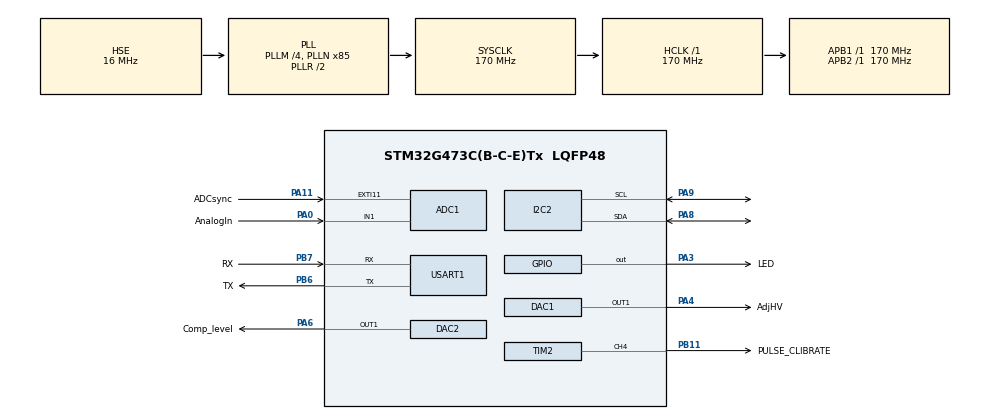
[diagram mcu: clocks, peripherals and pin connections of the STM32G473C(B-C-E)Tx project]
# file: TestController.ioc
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ADC1.Channel-0\#ChannelRegularConversion=ADC_CHANNEL_1
ADC1.ClockPrescaler=ADC_CLOCK_ASYNC_DIV16
ADC1.ContinuousConvMode=DISABLE
ADC1.DMAContinuousRequests=ENABLE
ADC1.NbrOfConversionFlag=1
ADC1.OffsetNumber-0\#ChannelRegularConversion=ADC_OFFSET_NONE
ADC1.Rank-0\#ChannelRegularConversion=1
ADC1.SamplingTime-0\#ChannelRegularConversion=ADC_SAMPLETIME_92CYCLES_5
ADC1.master=1
Dma.ADC1.0.Direction=DMA_PERIPH_TO_MEMORY
Dma.ADC1.0.EventEnable=DISABLE
Dma.ADC1.0.Instance=DMA1_Channel1
Dma.ADC1.0.MemDataAlignment=DMA_MDATAALIGN_HALFWORD
Dma.ADC1.0.MemInc=DMA_MINC_DISABLE
Dma.ADC1.0.Mode=DMA_CIRCULAR
Dma.ADC1.0.PeriphDataAlignment=DMA_PDATAALIGN_HALFWORD
Dma.ADC1.0.PeriphInc=DMA_PINC_DISABLE
Dma.ADC1.0.Polarity=HAL_DMAMUX_REQ_GEN_RISING
Dma.ADC1.0.Priority=DMA_PRIORITY_LOW
Dma.ADC1.0.RequestNumber=1
Dma.ADC1.0.SignalID=NONE
Dma.ADC1.0.SyncEnable=DISABLE
Dma.ADC1.0.SyncPolarity=HAL_DMAMUX_SYNC_NO_EVENT
Dma.ADC1.0.SyncRequestNumber=1
Dma.ADC1.0.SyncSignalID=NONE
Dma.Request0=ADC1
Dma.Request1=USART1_RX
Dma.USART1_RX.1.Direction=DMA_PERIPH_TO_MEMORY
Dma.USART1_RX.1.EventEnable=DISABLE
Dma.USART1_RX.1.Instance=DMA1_Channel2
Dma.USART1_RX.1.MemDataAlignment=DMA_MDATAALIGN_BYTE
Dma.USART1_RX.1.MemInc=DMA_MINC_ENABLE
Dma.USART1_RX.1.Mode=DMA_CIRCULAR
Dma.USART1_RX.1.PeriphDataAlignment=DMA_PDATAALIGN_BYTE
Dma.USART1_RX.1.PeriphInc=DMA_PINC_DISABLE
Dma.USART1_RX.1.Polarity=HAL_DMAMUX_REQ_GEN_RISING
Dma.USART1_RX.1.Priority=DMA_PRIORITY_LOW
Dma.USART1_RX.1.RequestNumber=1
Dma.USART1_RX.1.SignalID=NONE
Dma.USART1_RX.1.SyncEnable=DISABLE
Dma.USART1_RX.1.SyncPolarity=HAL_DMAMUX_SYNC_NO_EVENT
Dma.USART1_RX.1.SyncRequestNumber=1
Dma.USART1_RX.1.SyncSignalID=NONE
I2C2.Timing=0x30A0A7FB
Mcu.Family=STM32G4
Mcu.Name=STM32G473C(B-C-E)Tx
Mcu.Package=LQFP48
NVIC.DMA1_Channel1_IRQn=true\:0\:0\:false\:false\:true\:false\:true\:true
NVIC.DMA1_Channel2_IRQn=true\:0\:0\:false\:false\:true\:false\:true\:true
NVIC.PriorityGroup=NVIC_PRIORITYGROUP_4
PA0.GPIO_Label=AnalogIn
PA0.Mode=IN1-Single-Ended
PA0.Signal=ADC1_IN1
PA11.GPIO_Label=ADCsync
PA11.Signal=GPXTI11
PA13.GPIO_Label=SWD
PA13.Mode=Serial_Wire
PA13.Signal=SYS_JTMS-SWDIO
PA14.GPIO_Label=SWC
PA14.Mode=Serial_Wire
PA14.Signal=SYS_JTCK-SWCLK
PA3.GPIO_Label=LED
PA3.Signal=GPIO_Output
PA4.GPIO_Label=AdjHV
PA4.Signal=COMP_DAC11_group
PA6.GPIO_Label=Comp_level
PA6.Signal=COMP_DAC21_group
PA8.GPIO_Pu=GPIO_PULLUP
PA8.Mode=I2C
PA8.Signal=I2C2_SDA
PA9.GPIO_Pu=GPIO_PULLUP
PA9.Mode=I2C
PA9.Signal=I2C2_SCL
PB11.GPIO_Label=PULSE_CLIBRATE
PB11.Signal=S_TIM2_CH4
PB6.GPIO_Label=TX
PB6.Mode=Asynchronous
PB6.Signal=USART1_TX
PB7.GPIO_Label=RX
PB7.Mode=Asynchronous
PB7.Signal=USART1_RX
PF0-OSC_IN.Mode=HSE-External-Oscillator
PF0-OSC_IN.Signal=RCC_OSC_IN
PF1-OSC_OUT.Mode=HSE-External-Oscillator
PF1-OSC_OUT.Signal=RCC_OSC_OUT
ProjectManager.HeapSize=0x200
ProjectManager.StackSize=0x400
ProjectManager.TargetToolchain=STM32CubeIDE
RCC.ADC12Freq_Value=170000000
RCC.ADC345Freq_Value=170000000
RCC.AHBFreq_Value=170000000
RCC.APB1Freq_Value=170000000
RCC.APB1TimFreq_Value=170000000
RCC.APB2Freq_Value=170000000
RCC.APB2TimFreq_Value=170000000
RCC.CortexFreq_Value=170000000
RCC.EXTERNAL_CLOCK_VALUE=12288000
RCC.HCLKFreq_Value=170000000
RCC.HSE_VALUE=16000000
RCC.HSI48_VALUE=48000000
RCC.HSI_VALUE=16000000
RCC.LSE_VALUE=32768
RCC.PLLM=RCC_PLLM_DIV4
RCC.PLLN=85
RCC.PLLSourceVirtual=RCC_PLLSOURCE_HSE
RCC.SYSCLKFreq_VALUE=170000000
RCC.SYSCLKSource=RCC_SYSCLKSOURCE_PLLCLK
RCC.USBFreq_Value=170000000
RCC.VCOOutputFreq_Value=340000000
SH.COMP_DAC11_group.0=DAC1_OUT1,DAC_OUT1
SH.COMP_DAC21_group.0=DAC2_OUT1,DAC_OUT1
SH.S_TIM2_CH4.0=TIM2_CH4,Output Compare4 CH4
TIM2.Channel-Output\ Compare4\ CH4=TIM_CHANNEL_4
TIM2.OCMode_4=TIM_OCMODE_ACTIVE
USART1.VirtualMode-Asynchronous=VM_ASYNC
VP_SYS_VS_DBSignals.Mode=DisableDeadBatterySignals
VP_SYS_V_VREFBUF.Mode=ExternalMode
VP_TIM2_VS_ClockSourceINT.Mode=Internal
VP_TIM2_VS_OPM.Mode=OPM_bit
board=custom

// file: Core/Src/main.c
/* USER CODE BEGIN Header */
/**
  ******************************************************************************
  * @file           : main.c
  * @brief          : Main program body
  ******************************************************************************
  * @attention
  *
  * Copyright (c) 2024 STMicroelectronics.
  * All rights reserved.
  *
  * This software is licensed under terms that can be found in the LICENSE file
  * in the root directory of this software component.
  * If no LICENSE file comes with this software, it is provided AS-IS.
  *
  ******************************************************************************
  */
/* USER CODE END Header */
#include "main.h"

ADC_HandleTypeDef hadc1;
DMA_HandleTypeDef hdma_adc1;

DAC_HandleTypeDef hdac1;
DAC_HandleTypeDef hdac2;

I2C_HandleTypeDef hi2c2;

TIM_HandleTypeDef htim2;

UART_HandleTypeDef huart1;
DMA_HandleTypeDef hdma_usart1_rx;

/* USER CODE BEGIN PV */
char uartBuffer[400] = {0,};
uint8_t ctrlChar[1] = {0,}, currentLevel = 255;
uint32_t specterBuffer[SPECTER_SIZE] = {0,};
uint32_t pulseCounter = 0, measurementTime = 0;
uint32_t pulseLevel[1];
uint16_t dac_level = 3500;
bool reqToSpecter = false;
/* USER CODE END PV */

void SystemClock_Config(void);
static void MX_GPIO_Init(void);
static void MX_DMA_Init(void);
static void MX_ADC1_Init(void);
static void MX_USART1_UART_Init(void);
static void MX_I2C2_Init(void);
static void MX_TIM2_Init(void);
static void MX_DAC2_Init(void);
static void MX_DAC1_Init(void);

/* USER CODE BEGIN 0 */

uint32_t sendWorld(uint32_t dt) {
	uint8_t l1_word, l2_word, l3_word, l4_word;
	l1_word = dt & 0xFF;
	l2_word = (dt >> 8) & 0xFF;
	l3_word = (dt >> 16) & 0xFF;
	l4_word = (dt >> 24) & 0xFF;

	while ( HAL_OK != HAL_UART_Transmit(&huart1, (uint8_t *) &l1_word , 1, 100));
	while ( HAL_OK != HAL_UART_Transmit(&huart1, (uint8_t *) &l2_word , 1, 100));
	while ( HAL_OK != HAL_UART_Transmit(&huart1, (uint8_t *) &l3_word , 1, 100));
	while ( HAL_OK != HAL_UART_Transmit(&huart1, (uint8_t *) &l4_word , 1, 100));
	return dt;
}
/* USER CODE END 0 */

int main(void)
{

  /* MCU Configuration--------------------------------------------------------*/

  /* Reset of all peripherals, Initializes the Flash interface and the Systick. */
  HAL_Init();

  /* Configure the system clock */
  SystemClock_Config();

  /* Initialize all configured peripherals */
  MX_GPIO_Init();
  MX_DMA_Init();
  MX_ADC1_Init();
  MX_USART1_UART_Init();
  MX_I2C2_Init();
  MX_TIM2_Init();
  MX_DAC2_Init();
  MX_DAC1_Init();
  /* USER CODE BEGIN 2 */

  HAL_GPIO_WritePin(LED_GPIO_Port, LED_Pin, GPIO_PIN_SET);

  bzero((char *) uartBuffer, sizeof(uartBuffer));
  sprintf(uartBuffer, "Start AlphaSpectrometer.\n\r");
  HAL_UART_Transmit(&huart1, (uint8_t *) uartBuffer, strlen(uartBuffer), 100);

  bzero((char *) uartBuffer, sizeof(uartBuffer));
  sprintf(uartBuffer, "Resolution: %d channels.\n\r", SPECTER_SIZE);
  HAL_UART_Transmit(&huart1, (uint8_t *) uartBuffer, strlen(uartBuffer), 100);

  /* Подготовка буфера для спектра */
  for (int i = 0; i < SPECTER_SIZE; i++) {
	  specterBuffer[i] = 0;
  }
  pulseCounter = 0;

  /* UART для приема */
  HAL_UART_Receive_DMA(&huart1, ctrlChar, 1);

  /* Настройка усиления */
  AD5245level(currentLevel);

  /* Установка начального порога компаратора */
  HAL_DAC_Start(&hdac2, DAC_CHANNEL_1);
  HAL_DAC_SetValue(&hdac2, DAC_CHANNEL_1, DAC_ALIGN_12B_R, dac_level);

  /* Запускаем ADC */
  uint8_t hal_code;
  if (  HAL_OK != (hal_code = HAL_ADCEx_Calibration_Start(&hadc1, ADC_SINGLE_ENDED))) {
	  bzero((char *) uartBuffer, sizeof(uartBuffer));
	  sprintf(uartBuffer, "Error ADC calibrate: %u.\n\r", hal_code);
	  HAL_UART_Transmit(&huart1, (uint8_t *) uartBuffer, strlen(uartBuffer), 100);
  }
  HAL_ADC_Start_DMA(&hadc1, pulseLevel, 1);
  hdma_adc1.Instance->CCR &= ~DMA_IT_HT;
  measurementTime = HAL_GetTick();
  /* USER CODE END 2 */

  /* Infinite loop */
  /* USER CODE BEGIN WHILE */
  while (1)
  {
	  HAL_Delay(50);
	  HAL_GPIO_TogglePin(LED_GPIO_Port, LED_Pin);
	  //HAL_GPIO_WritePin(LED_GPIO_Port, LED_Pin, GPIO_PIN_RESET);
	  //HAL_Delay(100);
	  uint32_t sm = 0;
	  for (int i = 0; i < SPECTER_SIZE; i++) {
		  sm = sm + specterBuffer[i];
	  }
	  uint32_t tm = ( HAL_GetTick() - measurementTime) / 1000;
	  bzero((char *) uartBuffer, sizeof(uartBuffer));
	  sprintf(uartBuffer, "Time: %lu, Count: %lu, Rate: %0.4f cps, Summ: %lu, Comparator[p/m]: %u, HV[+/-]: %u          \r", tm, pulseCounter, (float) pulseCounter / tm, sm, dac_level, currentLevel);
	  HAL_UART_Transmit(&huart1, (uint8_t *) uartBuffer, strlen(uartBuffer), 100);

	  if (reqToSpecter) {
		  reqToSpecter = false;
		  //bzero((char *) uartBuffer, sizeof(uartBuffer));
		  //sprintf(uartBuffer, "\n\rChar: %s\n\r", ctrlChar);
		  //HAL_UART_Transmit(&huart1, (uint8_t *) uartBuffer, strlen(uartBuffer), 100);
		  /* Выгрузка спектра в UART */
		  if (strchr((char *) ctrlChar, 'l')) {
			  HAL_UART_Transmit(&huart1, (uint8_t *) "\n\r$\n\r", 5, 100);
			  for (int i = 0; i < SPECTER_SIZE; i++) {
				  bzero((char *) uartBuffer, sizeof(uartBuffer));
				  sprintf(uartBuffer, "%d; %lu\n\r", i, specterBuffer[i]);
				  HAL_UART_Transmit(&huart1, (uint8_t *) uartBuffer, strlen(uartBuffer), 100);
			  }
			  HAL_UART_Transmit(&huart1, (uint8_t *) "#\n\r", 3, 100);
		  } else
			  /* Увеличение уровня усиления */
			  if (strchr((char *) ctrlChar, '+')) {
					  currentLevel++;
					  AD5245level(currentLevel);
		  } else
			  /* Уменьшение уровня усиления */
			  if (strchr((char *) ctrlChar, '-')) {
					  currentLevel--;
					  AD5245level(currentLevel);
		  } else
			  /* Очистка буфера спектрометра и счетчиков */
			  if (strchr((char *) ctrlChar, 'c')) {
					  for (int i = 0; i < SPECTER_SIZE; i++) {
						  specterBuffer[i] = 0;
					  }
					  pulseCounter = 0;
					  measurementTime = HAL_GetTick();
		  } else
			  /* Уменьшение уровня компаратора */
			  if (strchr((char *) ctrlChar, 'm')) {
				  if (dac_level != 0) {
					  dac_level--;
					  HAL_DAC_SetValue(&hdac2, DAC_CHANNEL_1, DAC_ALIGN_12B_R, dac_level);
				  }
		  } else
			  /* Уменьшение уровня компаратора */
			  if (strchr((char *) ctrlChar, 'p')) {
				  if (dac_level != 0) {
					  dac_level++;
					  HAL_DAC_SetValue(&hdac2, DAC_CHANNEL_1, DAC_ALIGN_12B_R, dac_level);
				  }
		  } else
			/* Выгрузка бинарных данных */
			  if (strchr((char *) ctrlChar, 'b')) {
				  /* Подготовка тестовых данных */
				  //for(int i = 0; i < SPECTER_SIZE; i++) {
				  //	specterBuffer[i] = i;
				  //}

				  while ( HAL_OK != HAL_UART_Transmit(&huart1, (uint8_t *) "<B>", 3, 100));
				  uint32_t cs_summ = 0, tmp_data;

				  /* Подготовка и передача времени измерения */
				  tmp_data = tm;
				  cs_summ = sendWorld(tmp_data);

				  /* Подготовка и передача количества импульсов */
				  tmp_data = pulseCounter;
				  cs_summ = cs_summ + sendWorld(tmp_data);

				  /* Передача данных спектра */
				  int idd = 0;
				  for (int i = 0; i < SPECTER_SIZE; i++) {
					  tmp_data = specterBuffer[i];
					  cs_summ = cs_summ + sendWorld(tmp_data);
					  idd++;
				  }
				  sendWorld(cs_summ);
				  bzero((char *) uartBuffer, sizeof(uartBuffer));
				  sprintf(uartBuffer,  "\n\rc_summ: %lu, idx: %d\n\r", cs_summ, idd);
				  while ( HAL_OK != HAL_UART_Transmit(&huart1, (uint8_t *) uartBuffer, strlen(uartBuffer), 100));
			  }
	  }
    /* USER CODE END WHILE */

  }
}

void SystemClock_Config(void)
{
  RCC_OscInitTypeDef RCC_OscInitStruct = {0};
  RCC_ClkInitTypeDef RCC_ClkInitStruct = {0};

  /** Configure the main internal regulator output voltage
  */
  HAL_PWREx_ControlVoltageScaling(PWR_REGULATOR_VOLTAGE_SCALE1_BOOST);

  /** Initializes the RCC Oscillators according to the specified parameters
  * in the RCC_OscInitTypeDef structure.
  */
  RCC_OscInitStruct.OscillatorType = RCC_OSCILLATORTYPE_HSE;
  RCC_OscInitStruct.HSEState = RCC_HSE_ON;
  RCC_OscInitStruct.PLL.PLLState = RCC_PLL_ON;
  RCC_OscInitStruct.PLL.PLLSource = RCC_PLLSOURCE_HSE;
  RCC_OscInitStruct.PLL.PLLM = RCC_PLLM_DIV4;
  RCC_OscInitStruct.PLL.PLLN = 85;
  RCC_OscInitStruct.PLL.PLLP = RCC_PLLP_DIV2;
  RCC_OscInitStruct.PLL.PLLQ = RCC_PLLQ_DIV2;
  RCC_OscInitStruct.PLL.PLLR = RCC_PLLR_DIV2;
  if (HAL_RCC_OscConfig(&RCC_OscInitStruct) != HAL_OK)
  {
    Error_Handler();
  }

  /** Initializes the CPU, AHB and APB buses clocks
  */
  RCC_ClkInitStruct.ClockType = RCC_CLOCKTYPE_HCLK|RCC_CLOCKTYPE_SYSCLK
                              |RCC_CLOCKTYPE_PCLK1|RCC_CLOCKTYPE_PCLK2;
  RCC_ClkInitStruct.SYSCLKSource = RCC_SYSCLKSOURCE_PLLCLK;
  RCC_ClkInitStruct.AHBCLKDivider = RCC_SYSCLK_DIV1;
  RCC_ClkInitStruct.APB1CLKDivider = RCC_HCLK_DIV1;
  RCC_ClkInitStruct.APB2CLKDivider = RCC_HCLK_DIV1;

  if (HAL_RCC_ClockConfig(&RCC_ClkInitStruct, FLASH_LATENCY_4) != HAL_OK)
  {
    Error_Handler();
  }
}

static void MX_ADC1_Init(void)
{

  ADC_MultiModeTypeDef multimode = {0};
  ADC_ChannelConfTypeDef sConfig = {0};

  /** Common config
  */
  hadc1.Instance = ADC1;
  hadc1.Init.ClockPrescaler = ADC_CLOCK_ASYNC_DIV16;
  hadc1.Init.Resolution = ADC_RESOLUTION_12B;
  hadc1.Init.DataAlign = ADC_DATAALIGN_RIGHT;
  hadc1.Init.GainCompensation = 0;
  hadc1.Init.ScanConvMode = ADC_SCAN_DISABLE;
  hadc1.Init.EOCSelection = ADC_EOC_SINGLE_CONV;
  hadc1.Init.LowPowerAutoWait = DISABLE;
  hadc1.Init.ContinuousConvMode = DISABLE;
  hadc1.Init.NbrOfConversion = 1;
  hadc1.Init.DiscontinuousConvMode = DISABLE;
  hadc1.Init.ExternalTrigConv = ADC_EXTERNALTRIG_EXT_IT11;
  hadc1.Init.ExternalTrigConvEdge = ADC_EXTERNALTRIGCONVEDGE_RISING;
  hadc1.Init.DMAContinuousRequests = ENABLE;
  hadc1.Init.Overrun = ADC_OVR_DATA_PRESERVED;
  hadc1.Init.OversamplingMode = DISABLE;
  if (HAL_ADC_Init(&hadc1) != HAL_OK)
  {
    Error_Handler();
  }

  /** Configure the ADC multi-mode
  */
  multimode.Mode = ADC_MODE_INDEPENDENT;
  if (HAL_ADCEx_MultiModeConfigChannel(&hadc1, &multimode) != HAL_OK)
  {
    Error_Handler();
  }

  /** Configure Regular Channel
  */
  sConfig.Channel = ADC_CHANNEL_1;
  sConfig.Rank = ADC_REGULAR_RANK_1;
  sConfig.SamplingTime = ADC_SAMPLETIME_92CYCLES_5;
  sConfig.SingleDiff = ADC_SINGLE_ENDED;
  sConfig.OffsetNumber = ADC_OFFSET_NONE;
  sConfig.Offset = 0;
  if (HAL_ADC_ConfigChannel(&hadc1, &sConfig) != HAL_OK)
  {
    Error_Handler();
  }

}

static void MX_DAC1_Init(void)
{

  DAC_ChannelConfTypeDef sConfig = {0};

  /** DAC Initialization
  */
  hdac1.Instance = DAC1;
  if (HAL_DAC_Init(&hdac1) != HAL_OK)
  {
    Error_Handler();
  }

  /** DAC channel OUT1 config
  */
  sConfig.DAC_HighFrequency = DAC_HIGH_FREQUENCY_INTERFACE_MODE_AUTOMATIC;
  sConfig.DAC_DMADoubleDataMode = DISABLE;
  sConfig.DAC_SignedFormat = DISABLE;
  sConfig.DAC_SampleAndHold = DAC_SAMPLEANDHOLD_DISABLE;
  sConfig.DAC_Trigger = DAC_TRIGGER_NONE;
  sConfig.DAC_Trigger2 = DAC_TRIGGER_NONE;
  sConfig.DAC_OutputBuffer = DAC_OUTPUTBUFFER_ENABLE;
  sConfig.DAC_ConnectOnChipPeripheral = DAC_CHIPCONNECT_EXTERNAL;
  sConfig.DAC_UserTrimming = DAC_TRIMMING_FACTORY;
  if (HAL_DAC_ConfigChannel(&hdac1, &sConfig, DAC_CHANNEL_1) != HAL_OK)
  {
    Error_Handler();
  }

}

static void MX_DAC2_Init(void)
{

  DAC_ChannelConfTypeDef sConfig = {0};

  /** DAC Initialization
  */
  hdac2.Instance = DAC2;
  if (HAL_DAC_Init(&hdac2) != HAL_OK)
  {
    Error_Handler();
  }

  /** DAC channel OUT1 config
  */
  sConfig.DAC_HighFrequency = DAC_HIGH_FREQUENCY_INTERFACE_MODE_AUTOMATIC;
  sConfig.DAC_DMADoubleDataMode = DISABLE;
  sConfig.DAC_SignedFormat = DISABLE;
  sConfig.DAC_SampleAndHold = DAC_SAMPLEANDHOLD_DISABLE;
  sConfig.DAC_Trigger = DAC_TRIGGER_NONE;
  sConfig.DAC_Trigger2 = DAC_TRIGGER_NONE;
  sConfig.DAC_OutputBuffer = DAC_OUTPUTBUFFER_ENABLE;
  sConfig.DAC_ConnectOnChipPeripheral = DAC_CHIPCONNECT_EXTERNAL;
  sConfig.DAC_UserTrimming = DAC_TRIMMING_FACTORY;
  if (HAL_DAC_ConfigChannel(&hdac2, &sConfig, DAC_CHANNEL_1) != HAL_OK)
  {
    Error_Handler();
  }

}

static void MX_I2C2_Init(void)
{

  hi2c2.Instance = I2C2;
  hi2c2.Init.Timing = 0x30A0A7FB;
  hi2c2.Init.OwnAddress1 = 0;
  hi2c2.Init.AddressingMode = I2C_ADDRESSINGMODE_7BIT;
  hi2c2.Init.DualAddressMode = I2C_DUALADDRESS_DISABLE;
  hi2c2.Init.OwnAddress2 = 0;
  hi2c2.Init.OwnAddress2Masks = I2C_OA2_NOMASK;
  hi2c2.Init.GeneralCallMode = I2C_GENERALCALL_DISABLE;
  hi2c2.Init.NoStretchMode = I2C_NOSTRETCH_DISABLE;
  if (HAL_I2C_Init(&hi2c2) != HAL_OK)
  {
    Error_Handler();
  }

  /** Configure Analogue filter
  */
  if (HAL_I2CEx_ConfigAnalogFilter(&hi2c2, I2C_ANALOGFILTER_ENABLE) != HAL_OK)
  {
    Error_Handler();
  }

  /** Configure Digital filter
  */
  if (HAL_I2CEx_ConfigDigitalFilter(&hi2c2, 0) != HAL_OK)
  {
    Error_Handler();
  }

}

static void MX_TIM2_Init(void)
{

  TIM_ClockConfigTypeDef sClockSourceConfig = {0};
  TIM_MasterConfigTypeDef sMasterConfig = {0};
  TIM_OC_InitTypeDef sConfigOC = {0};

  htim2.Instance = TIM2;
  htim2.Init.Prescaler = 0;
  htim2.Init.CounterMode = TIM_COUNTERMODE_UP;
  htim2.Init.Period = 4294967295;
  htim2.Init.ClockDivision = TIM_CLOCKDIVISION_DIV1;
  htim2.Init.AutoReloadPreload = TIM_AUTORELOAD_PRELOAD_DISABLE;
  if (HAL_TIM_Base_Init(&htim2) != HAL_OK)
  {
    Error_Handler();
  }
  sClockSourceConfig.ClockSource = TIM_CLOCKSOURCE_INTERNAL;
  if (HAL_TIM_ConfigClockSource(&htim2, &sClockSourceConfig) != HAL_OK)
  {
    Error_Handler();
  }
  if (HAL_TIM_OC_Init(&htim2) != HAL_OK)
  {
    Error_Handler();
  }
  if (HAL_TIM_OnePulse_Init(&htim2, TIM_OPMODE_SINGLE) != HAL_OK)
  {
    Error_Handler();
  }
  sMasterConfig.MasterOutputTrigger = TIM_TRGO_RESET;
  sMasterConfig.MasterSlaveMode = TIM_MASTERSLAVEMODE_DISABLE;
  if (HAL_TIMEx_MasterConfigSynchronization(&htim2, &sMasterConfig) != HAL_OK)
  {
    Error_Handler();
  }
  sConfigOC.OCMode = TIM_OCMODE_ACTIVE;
  sConfigOC.Pulse = 0;
  sConfigOC.OCPolarity = TIM_OCPOLARITY_HIGH;
  sConfigOC.OCFastMode = TIM_OCFAST_DISABLE;
  if (HAL_TIM_OC_ConfigChannel(&htim2, &sConfigOC, TIM_CHANNEL_4) != HAL_OK)
  {
    Error_Handler();
  }
  HAL_TIM_MspPostInit(&htim2);

}

static void MX_USART1_UART_Init(void)
{

  huart1.Instance = USART1;
  huart1.Init.BaudRate = 115200;
  huart1.Init.WordLength = UART_WORDLENGTH_8B;
  huart1.Init.StopBits = UART_STOPBITS_1;
  huart1.Init.Parity = UART_PARITY_NONE;
  huart1.Init.Mode = UART_MODE_TX_RX;
  huart1.Init.HwFlowCtl = UART_HWCONTROL_NONE;
  huart1.Init.OverSampling = UART_OVERSAMPLING_16;
  huart1.Init.OneBitSampling = UART_ONE_BIT_SAMPLE_DISABLE;
  huart1.Init.ClockPrescaler = UART_PRESCALER_DIV1;
  huart1.AdvancedInit.AdvFeatureInit = UART_ADVFEATURE_NO_INIT;
  if (HAL_UART_Init(&huart1) != HAL_OK)
  {
    Error_Handler();
  }
  if (HAL_UARTEx_SetTxFifoThreshold(&huart1, UART_TXFIFO_THRESHOLD_1_8) != HAL_OK)
  {
    Error_Handler();
  }
  if (HAL_UARTEx_SetRxFifoThreshold(&huart1, UART_RXFIFO_THRESHOLD_1_8) != HAL_OK)
  {
    Error_Handler();
  }
  if (HAL_UARTEx_DisableFifoMode(&huart1) != HAL_OK)
  {
    Error_Handler();
  }

}

static void MX_DMA_Init(void)
{

  /* DMA controller clock enable */
  __HAL_RCC_DMAMUX1_CLK_ENABLE();
  __HAL_RCC_DMA1_CLK_ENABLE();

  /* DMA interrupt init */
  /* DMA1_Channel1_IRQn interrupt configuration */
  HAL_NVIC_SetPriority(DMA1_Channel1_IRQn, 0, 0);
  HAL_NVIC_EnableIRQ(DMA1_Channel1_IRQn);
  /* DMA1_Channel2_IRQn interrupt configuration */
  HAL_NVIC_SetPriority(DMA1_Channel2_IRQn, 0, 0);
  HAL_NVIC_EnableIRQ(DMA1_Channel2_IRQn);

}

static void MX_GPIO_Init(void)
{
  GPIO_InitTypeDef GPIO_InitStruct = {0};

  /* GPIO Ports Clock Enable */
  __HAL_RCC_GPIOF_CLK_ENABLE();
  __HAL_RCC_GPIOA_CLK_ENABLE();
  __HAL_RCC_GPIOB_CLK_ENABLE();

  /*Configure GPIO pin Output Level */
  HAL_GPIO_WritePin(LED_GPIO_Port, LED_Pin, GPIO_PIN_RESET);

  /*Configure GPIO pin : LED_Pin */
  GPIO_InitStruct.Pin = LED_Pin;
  GPIO_InitStruct.Mode = GPIO_MODE_OUTPUT_PP;
  GPIO_InitStruct.Pull = GPIO_NOPULL;
  GPIO_InitStruct.Speed = GPIO_SPEED_FREQ_LOW;
  HAL_GPIO_Init(LED_GPIO_Port, &GPIO_InitStruct);

  /*Configure GPIO pin : ADCsync_Pin */
  GPIO_InitStruct.Pin = ADCsync_Pin;
  GPIO_InitStruct.Mode = GPIO_MODE_IT_RISING;
  GPIO_InitStruct.Pull = GPIO_NOPULL;
  HAL_GPIO_Init(ADCsync_GPIO_Port, &GPIO_InitStruct);

}

void Error_Handler(void)
{
  __disable_irq();
  while (1)
  {
  }
}
